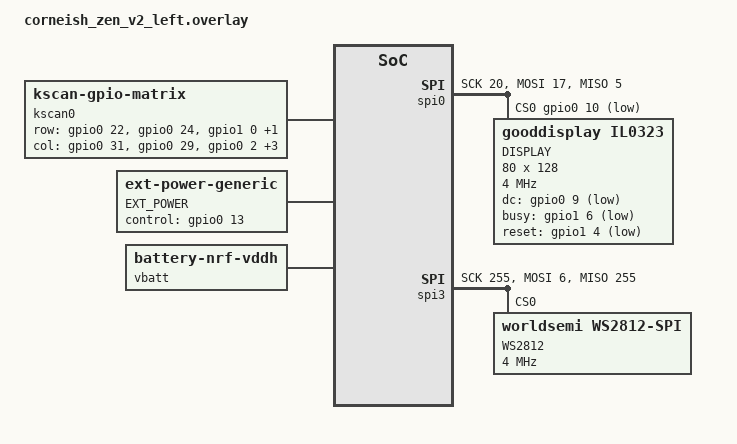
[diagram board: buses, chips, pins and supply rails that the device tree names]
/*
 * Copyright (c) 2021 Darryl deHaan
 * SPDX-License-Identifier: MIT
 */

#include "corneish_zen.dtsi"
#include <dt-bindings/led/led.h>

/{
    chosen {
        zephyr,display = &epd;
        zmk,battery = &vbatt;
        zmk,underglow = &led_strip;
    };

    kscan0: kscan {
        compatible = "zmk,kscan-gpio-matrix";
        wakeup-source;
        diode-direction = "col2row";
        row-gpios
            = <&gpio0 22 (GPIO_ACTIVE_HIGH | GPIO_PULL_DOWN)>
            , <&gpio0 24 (GPIO_ACTIVE_HIGH | GPIO_PULL_DOWN)>
            , <&gpio1 0 (GPIO_ACTIVE_HIGH | GPIO_PULL_DOWN)>
            , <&gpio0 11 (GPIO_ACTIVE_HIGH | GPIO_PULL_DOWN)>
            ;

        col-gpios
            = <&gpio0 31 GPIO_ACTIVE_HIGH>
            , <&gpio0 29 GPIO_ACTIVE_HIGH>
            , <&gpio0 2 GPIO_ACTIVE_HIGH>
            , <&gpio1 15 GPIO_ACTIVE_HIGH>
            , <&gpio1 13 GPIO_ACTIVE_HIGH>
            , <&gpio1 11 GPIO_ACTIVE_HIGH>
            ;
    };

    ext-power {
        compatible = "zmk,ext-power-generic";
        label = "EXT_POWER";
        control-gpios = <&gpio0 13 GPIO_ACTIVE_HIGH>;
        init-delay-ms = <50>;
    };

    vbatt: vbatt {
        compatible = "zmk,battery-nrf-vddh";
    };
};

&spi0 {
    status = "okay";
    compatible = "nordic,nrf-spim";
    sck-pin = <20>;
    mosi-pin = <17>;
    miso-pin = <5>;
    cs-gpios = <&gpio0 10 GPIO_ACTIVE_LOW>;

    epd: il0323@0 {
        compatible = "gooddisplay,il0323";
        label = "DISPLAY";
        reg = <0>;
        width = <80>;
        height = <128>;
        spi-max-frequency = <4000000>;
        dc-gpios = <&gpio0 9 GPIO_ACTIVE_LOW>;
        busy-gpios = <&gpio1 6 GPIO_ACTIVE_LOW>;
        reset-gpios = <&gpio1 4 GPIO_ACTIVE_LOW>;
        pwr = [ 03 00 26 26 ];
        cdi = <0xd2>;
        tcon = <0x22>;
    };
};

&spi3 {
    compatible = "nordic,nrf-spim";
    status = "okay";
    sck-pin = <255>;
    mosi-pin = <6>;
    miso-pin = <255>;

    led_strip: ws2812@0 {
        compatible = "worldsemi,ws2812-spi";
        label = "WS2812";
        reg = <0>;
        spi-max-frequency = <4000000>;
        chain-length = <12>;
        spi-one-frame = <0x70>;
        spi-zero-frame = <0x40>;
        color-mapping = <LED_COLOR_ID_GREEN LED_COLOR_ID_RED LED_COLOR_ID_BLUE>;
    };
};
